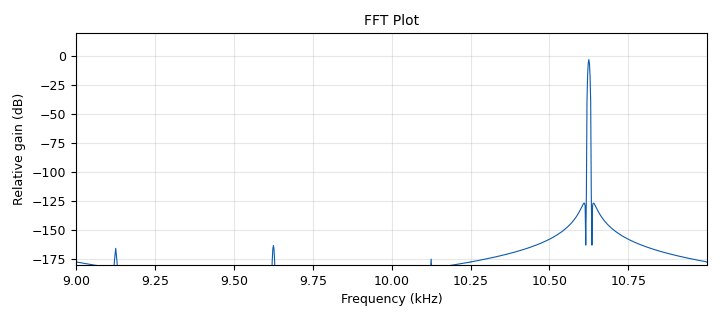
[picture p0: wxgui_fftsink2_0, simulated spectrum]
<?xml version='1.0' encoding='utf-8'?>
<?grc format='1' created='3.7.13'?>
<flow_graph>
<block>
<key>options</key>
<param><key>id</key><value>osciloscope</value></param>
<param><key>author</key><value>Leonardo David Vazquez</value></param>
<param><key>generate_options</key><value>wx_gui</value></param>
<param><key>title</key><value>Osciloscopio</value></param>
</block>
<block>
<key>variable_chooser</key>
<param><key>id</key><value>BW</value></param>
<param><key>choices</key><value>[320, 640, 1e3,2e3,4e3,8e3,10e3,32e3]</value></param>
<param><key>value</key><value>2e3</value></param>
<param><key>grid_pos</key><value>5,3,1,1</value></param>
<param><key>label</key><value>Band WIth</value></param>
<param><key>labels</key><value>["0.320kHz","0.640 kHz"," 1kHz","2kHz","4kHz","8kHz","10kHz","32kHz"]</value></param>
<param><key>style</key><value>wx.RA_HORIZONTAL</value></param>
<param><key>type</key><value>drop_down</value></param>
</block>
<block>
<key>variable_slider</key>
<param><key>id</key><value>freq</value></param>
<param><key>converver</key><value>float_converter</value></param>
<param><key>value</key><value>10e3</value></param>
<param><key>grid_pos</key><value>6,0,1,5</value></param>
<param><key>label</key><value>Frecuencia Central</value></param>
<param><key>max</key><value>50e3</value></param>
<param><key>min</key><value>10e3</value></param>
<param><key>num_steps</key><value>100</value></param>
<param><key>style</key><value>wx.SL_HORIZONTAL</value></param>
</block>
<block>
<key>variable_slider</key>
<param><key>id</key><value>gain</value></param>
<param><key>converver</key><value>float_converter</value></param>
<param><key>value</key><value>1</value></param>
<param><key>grid_pos</key><value>7,0,1,5</value></param>
<param><key>label</key><value>Gain</value></param>
<param><key>max</key><value>110</value></param>
<param><key>min</key><value>0</value></param>
<param><key>num_steps</key><value>100</value></param>
<param><key>style</key><value>wx.SL_HORIZONTAL</value></param>
</block>
<block>
<key>variable</key>
<param><key>id</key><value>samp_rate</value></param>
<param><key>value</key><value>32000</value></param>
</block>
<block>
<key>analog_sig_source_x</key>
<param><key>id</key><value>analog_sig_source_x_0</value></param>
<param><key>amp</key><value>gain</value></param>
<param><key>freq</key><value>freq</value></param>
<param><key>offset</key><value>0</value></param>
<param><key>type</key><value>complex</value></param>
<param><key>samp_rate</key><value>samp_rate</value></param>
<param><key>waveform</key><value>analog.GR_SIN_WAVE</value></param>
</block>
<block>
<key>band_pass_filter</key>
<param><key>id</key><value>band_pass_filter_0</value></param>
<param><key>decim</key><value>1</value></param>
<param><key>_enabled</key><value>2</value></param>
<param><key>type</key><value>fir_filter_ccf</value></param>
<param><key>gain</key><value>1</value></param>
<param><key>high_cutoff_freq</key><value>15e3</value></param>
<param><key>low_cutoff_freq</key><value>53e3</value></param>
<param><key>samp_rate</key><value>samp_rate</value></param>
<param><key>width</key><value>1e3</value></param>
<param><key>win</key><value>firdes.WIN_HAMMING</value></param>
</block>
<block>
<key>wxgui_fftsink2</key>
<param><key>id</key><value>wxgui_fftsink2_0</value></param>
<param><key>avg_alpha</key><value>0.03</value></param>
<param><key>average</key><value>False</value></param>
<param><key>baseband_freq</key><value>freq</value></param>
<param><key>fft_size</key><value>1024</value></param>
<param><key>freqvar</key><value>None</value></param>
<param><key>grid_pos</key><value>0,0,4,5</value></param>
<param><key>peak_hold</key><value>False</value></param>
<param><key>ref_level</key><value>20</value></param>
<param><key>ref_scale</key><value>2.0</value></param>
<param><key>fft_rate</key><value>15</value></param>
<param><key>samp_rate</key><value>BW</value></param>
<param><key>title</key><value>FFT Plot</value></param>
<param><key>type</key><value>complex</value></param>
<param><key>win</key><value>None</value></param>
<param><key>y_divs</key><value>10</value></param>
<param><key>y_per_div</key><value>20</value></param>
</block>
<connection><source_block_id>analog_sig_source_x_0</source_block_id><sink_block_id>band_pass_filter_0</sink_block_id><source_key>0</source_key><sink_key>0</sink_key></connection>
<connection><source_block_id>band_pass_filter_0</source_block_id><sink_block_id>wxgui_fftsink2_0</sink_block_id><source_key>0</source_key><sink_key>0</sink_key></connection>
</flow_graph>
